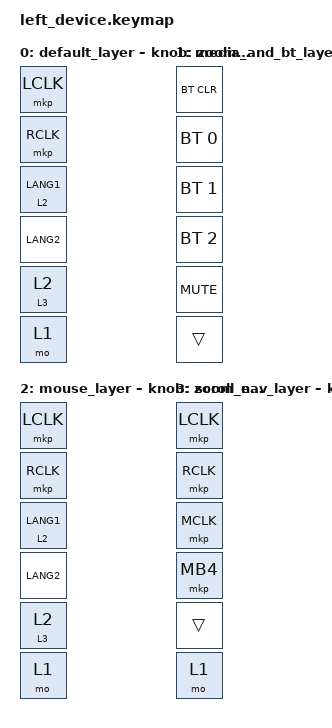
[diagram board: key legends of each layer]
/*
 * Copyright (c) 2026 The ZMK Contributors
 * SPDX-License-Identifier: MIT
 */

// Default mouse scroll velocity (official recommended value: 20)
#define ZMK_POINTING_DEFAULT_SCRL_VAL 20

#include <behaviors.dtsi>
#include <dt-bindings/zmk/keys.h>
#include <dt-bindings/zmk/bt.h>
#include <dt-bindings/zmk/pointing.h>
#include <input/processors.dtsi>
#include <dt-bindings/zmk/input_transform.h>

/ {
    behaviors {
        // Rotary encoder zoom binding (CW: Zoom In Ctrl+=, CCW: Zoom Out Ctrl+-)
        zoom_encoder: zoom_encoder {
            compatible = "zmk,behavior-sensor-rotate";
            #sensor-binding-cells = <0>;
            bindings = <&kp LC(MINUS)>, <&kp LC(EQUAL)>;
            tap-ms = <10>;
        };

        // SW4: Tap for Japanese (LANG1), Hold to temporarily enable pointer movement
        sw4_ht: sw4_hold_tap {
            compatible = "zmk,behavior-hold-tap";
            #binding-cells = <2>;
            flavor = "tap-preferred";
            tapping-term-ms = <200>;
            quick-tap-ms = <200>;
            bindings = <&mo>, <&kp>;
        };

        // SW6: Tap for Mouse Toggle (ON/OFF), Hold 500ms for Scroll & Navigation layer
        sw6_ht: sw6_hold_tap {
            compatible = "zmk,behavior-hold-tap";
            #binding-cells = <2>;
            flavor = "hold-preferred";
            tapping-term-ms = <500>;
            quick-tap-ms = <200>;
            bindings = <&mo>, <&tog>;
        };
    };

    combos {
        compatible = "zmk,combos";

        // SW6 + SW5 combo for Browser Back (MB4)
        combo_back {
            timeout-ms = <80>;
            key-positions = <3 4>;
            bindings = <&mkp MB4>;
        };

        // SW6 + SW4 combo for Middle Click (MCLK)
        combo_mclk {
            timeout-ms = <80>;
            key-positions = <2 4>;
            bindings = <&mkp MCLK>;
        };
    };

    keymap {
        compatible = "zmk,keymap";

        // Layer 0: Default layer (cursor movement disabled)
        default_layer {
            bindings = <
                &mkp LCLK        // SW2 (KEY_1): Left Click
                &mkp RCLK        // SW3 (KEY_2): Right Click
                &sw4_ht 2 LANG1  // SW4 (KEY_3): Tap: Japanese (LANG1), Hold: Enable Mouse
                &kp LANG2        // SW5 (KEY_4): English (LANG2)
                &sw6_ht 3 2      // SW6 (KEY_5): Tap: Mouse Toggle ON/OFF, Hold 0.5s: Scroll
                &mo 1            // SW1 (ENC_SW): Hold: Layer 1 (BT & Media)
            >;
            sensor-bindings = <&zoom_encoder>;
        };

        // Layer 1: Bluetooth & Media control layer (while SW1 is held)
        media_and_bt_layer {
            bindings = <
                &bt BT_CLR       // SW2: Clear BLE pairing profile
                &bt BT_SEL 0     // SW3: PC Profile 1 (BT 0)
                &bt BT_SEL 1     // SW4: PC Profile 2 (BT 1)
                &bt BT_SEL 2     // SW5: PC Profile 3 (BT 2)
                &kp C_MUTE       // SW6: Mute
                &trans           // SW1: ENC_SW
            >;
            sensor-bindings = <&inc_dec_kp C_VOL_DN C_VOL_UP>;
        };

        // Layer 2: Mouse Active layer (toggled ON via SW6, or held via SW4)
        mouse_layer {
            bindings = <
                &mkp LCLK        // SW2: Left Click
                &mkp RCLK        // SW3: Right Click
                &sw4_ht 2 LANG1  // SW4: Tap: Japanese, Hold: Keep Mouse Active
                &kp LANG2        // SW5: English
                &sw6_ht 3 2      // SW6: Tap: Toggle Mouse OFF, Hold 0.5s: Scroll
                &mo 1            // SW1: ENC_SW
            >;
            sensor-bindings = <&zoom_encoder>;
        };

        // Layer 3: Scroll & Navigation layer (held via SW6 for >0.5s)
        scroll_nav_layer {
            bindings = <
                &mkp LCLK        // SW2: Left Click
                &mkp RCLK        // SW3: Right Click
                &mkp MCLK        // SW4: Middle Click (MCLK)
                &mkp MB4         // SW5: Browser Back (MB4)
                &trans           // SW6: Held
                &mo 1            // SW1: ENC_SW
            >;
            sensor-bindings = <&zoom_encoder>;
        };
    };
};

/* Perch (Wrist Mouse) input listener & processor configuration */
&pmw3360_listener {
    // Default (Layer 0, 1): Scale pointer movement by 0x (locked / inactive)
    input-processors = <&zip_xy_scaler 0 1>;

    // Layer 3 (while SW6 is held): Map XY movement to smooth scrolling (invert Y, 1/8 speed)
    mouse_scroll {
        layers = <3>;
        input-processors = <&zip_xy_to_scroll_mapper>, <&zip_scroll_transform INPUT_TRANSFORM_Y_INVERT>, <&zip_scroll_scaler 1 8>;
    };

    // Layer 2 (when mouse mode is active): Enable 1x pointer movement
    mouse_active {
        layers = <2>;
        input-processors = <&zip_xy_scaler 1 1>;
    };
};
